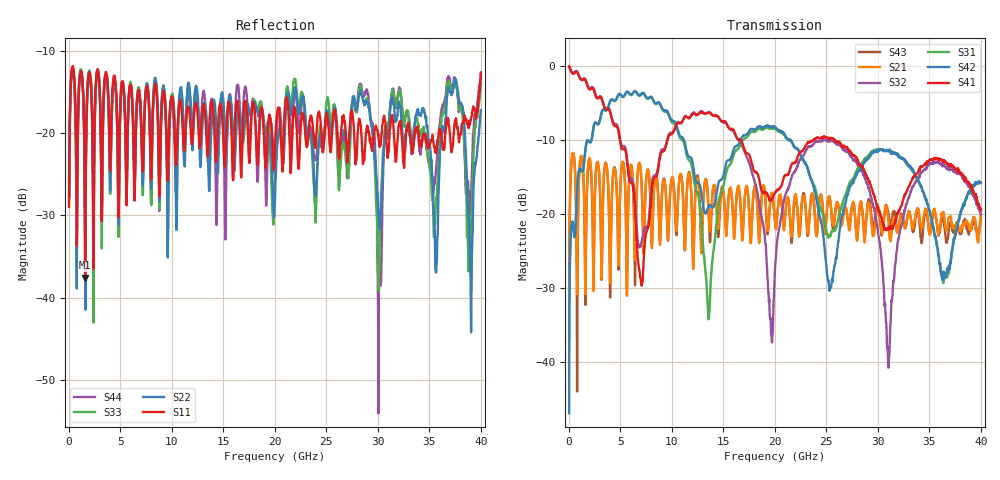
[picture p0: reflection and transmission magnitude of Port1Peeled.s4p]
! File created by SignalIntegrity v1.1.7: Signal and Power Integrity Tools
! https://github.com/TeledyneLeCroy/SignalIntegrity
# MHz MA S R 50.0
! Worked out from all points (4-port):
!   1600 points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, 25 MHz to 40 GHz, reference 50 ohm
!   strongest paths, dB at 25 MHz, 10.03 GHz, 20.02 GHz, 30.02 GHz, 40 GHz:
!     S41: -0.2, -9.2, -17.2, -19.2, -19.4
!     S42: -46.9, -7.4, -8.3, -11.4, -15.8
!     S31: -38.6, -7.6, -8.5, -11.4, -15.8
!     S32: -0.1, -9.1, -27.2, -22.7, -20.1
!     S21: -30.1, -15.1, -21.5, -19.0, -19.7
!     S43: -28.4, -15.2, -21.2, -19.0, -20.5
!   lowest |S11| = -37.6 dB at 1.575 GHz (marker M1), VSWR 1.03, Z = 50.2 - j1.31 ohm
!   |S11| at or under -10 dB: start of sweep to end of sweep
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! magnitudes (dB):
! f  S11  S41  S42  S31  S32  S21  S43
! 25 MHz  -28.9  -0.2  -46.9  -38.6  -0.1  -30.1  -28.4
! 1.575 GHz  -37.6  -1.9  -11.7  -11.7  -1.8  -27.9  -27.3
! 7 GHz  -18.0  -29.1  -3.9  -4.0  -24.1  -14.4  -14.5
! 13.57 GHz  -20.7  -6.3  -19.0  -34.2  -6.3  -19.9  -20.0
! 19.68 GHz  -19.7  -18.1  -8.2  -8.5  -36.6  -17.1  -17.5
! 30.18 GHz  -21.7  -19.8  -11.3  -11.4  -23.9  -19.9  -20.6
! 40 GHz  -12.6  -19.4  -15.8  -15.8  -20.1  -19.7  -20.5
